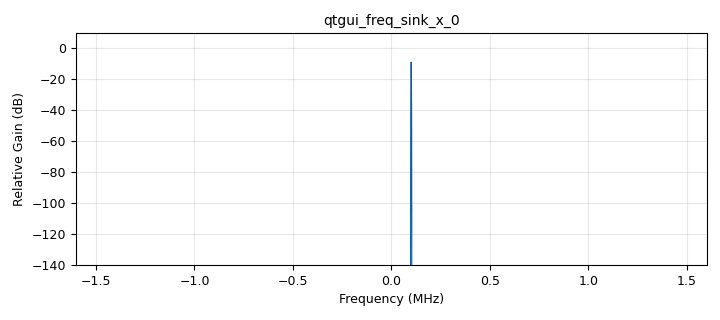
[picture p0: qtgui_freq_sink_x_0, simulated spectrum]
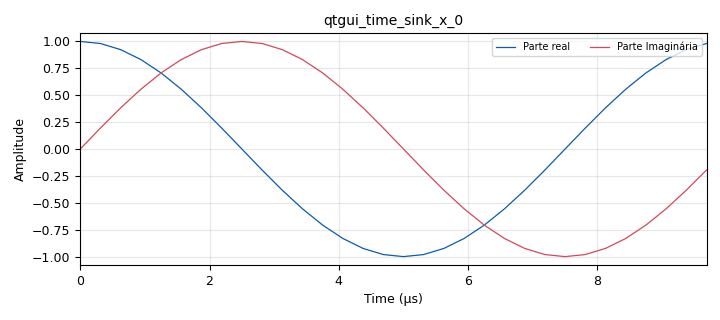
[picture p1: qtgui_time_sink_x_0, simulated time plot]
options:
  parameters:
    author: luso
    generate_options: qt_gui
    id: teste
    output_language: python
    title: demonstracao_complexo
  states: {}

blocks:
- name: freq
  id: variable_qtgui_entry
  parameters:
    type: real
    value: '100000'
  states: {}
- name: samp_rate
  id: variable
  parameters:
    value: '3200000'
  states: {}
- name: analog_sig_source_x_0
  id: analog_sig_source_x
  parameters:
    amp: '1'
    freq: freq
    offset: '0'
    phase: '0'
    samp_rate: samp_rate
    type: complex
    waveform: analog.GR_COS_WAVE
  states: {}
- name: qtgui_freq_sink_x_0
  id: qtgui_freq_sink_x
  parameters:
    bw: samp_rate
    fc: '0'
    fftsize: '4096'
    type: complex
  states: {}
- name: qtgui_time_sink_x_0
  id: qtgui_time_sink_x
  parameters:
    label1: Parte real
    label2: Parte Imaginária
    size: round(samp_rate/freq)
    srate: samp_rate
    type: complex
  states: {}

connections:
- [analog_sig_source_x_0, '0', qtgui_freq_sink_x_0, '0']
- [analog_sig_source_x_0, '0', qtgui_time_sink_x_0, '0']

metadata:
  file_format: 1
  grc_version: 3.10.10.0
